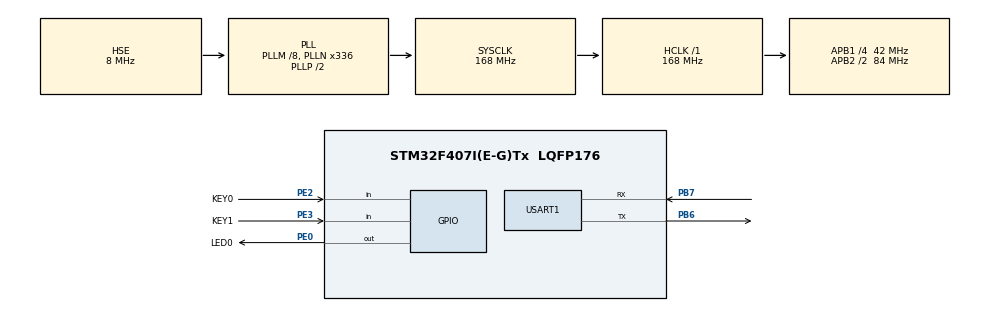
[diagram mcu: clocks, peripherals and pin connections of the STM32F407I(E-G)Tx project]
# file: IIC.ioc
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Mcu.Family=STM32F4
Mcu.Name=STM32F407I(E-G)Tx
Mcu.Package=LQFP176
NVIC.PriorityGroup=NVIC_PRIORITYGROUP_4
PA13.Mode=Serial_Wire
PA13.Signal=SYS_JTMS-SWDIO
PA14.Mode=Serial_Wire
PA14.Signal=SYS_JTCK-SWCLK
PB6.Mode=Asynchronous
PB6.Signal=USART1_TX
PB7.Mode=Asynchronous
PB7.Signal=USART1_RX
PE0.GPIO_Label=LED0
PE0.GPIO_Speed=GPIO_SPEED_FREQ_HIGH
PE0.PinState=GPIO_PIN_SET
PE0.Signal=GPIO_Output
PE2.GPIO_Label=KEY0
PE2.GPIO_PuPd=GPIO_PULLUP
PE2.Signal=GPIO_Input
PE3.GPIO_Label=KEY1
PE3.GPIO_PuPd=GPIO_PULLUP
PE3.Signal=GPIO_Input
PH0-OSC_IN.Mode=HSE-External-Oscillator
PH0-OSC_IN.Signal=RCC_OSC_IN
PH1-OSC_OUT.Mode=HSE-External-Oscillator
PH1-OSC_OUT.Signal=RCC_OSC_OUT
PH4.Signal=I2C2_SCL
PH5.Signal=I2C2_SDA
ProjectManager.HeapSize=0x200
ProjectManager.StackSize=0x400
ProjectManager.TargetToolchain=MDK-ARM V5
RCC.48MHZClocksFreq_Value=84000000
RCC.AHBFreq_Value=168000000
RCC.APB1CLKDivider=RCC_HCLK_DIV4
RCC.APB1Freq_Value=42000000
RCC.APB1TimFreq_Value=84000000
RCC.APB2CLKDivider=RCC_HCLK_DIV2
RCC.APB2Freq_Value=84000000
RCC.APB2TimFreq_Value=168000000
RCC.CortexFreq_Value=168000000
RCC.HCLKFreq_Value=168000000
RCC.HSE_VALUE=8000000
RCC.HSI_VALUE=16000000
RCC.LSE_VALUE=32768
RCC.PLLM=8
RCC.PLLN=336
RCC.PLLSourceVirtual=RCC_PLLSOURCE_HSE
RCC.SYSCLKFreq_VALUE=168000000
RCC.SYSCLKSource=RCC_SYSCLKSOURCE_PLLCLK
RCC.VCOOutputFreq_Value=336000000
USART1.VirtualMode=VM_ASYNC
board=IIC

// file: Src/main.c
/**
  ******************************************************************************
  * @file           : main.c
  * @brief          : Main program body
  ******************************************************************************
  ** This notice applies to any and all portions of this file
  * that are not between comment pairs USER CODE BEGIN and
  * USER CODE END. Other portions of this file, whether
  * inserted by the user or by software development tools
  * are owned by their respective copyright owners.
  *
  * COPYRIGHT(c) 2024 STMicroelectronics
  *
  * Redistribution and use in source and binary forms, with or without modification,
  * are permitted provided that the following conditions are met:
  *   1. Redistributions of source code must retain the above copyright notice,
  *      this list of conditions and the following disclaimer.
  *   2. Redistributions in binary form must reproduce the above copyright notice,
  *      this list of conditions and the following disclaimer in the documentation
  *      and/or other materials provided with the distribution.
  *   3. Neither the name of STMicroelectronics nor the names of its contributors
  *      may be used to endorse or promote products derived from this software
  *      without specific prior written permission.
  *
  * THIS SOFTWARE IS PROVIDED BY THE COPYRIGHT HOLDERS AND CONTRIBUTORS "AS IS"
  * AND ANY EXPRESS OR IMPLIED WARRANTIES, INCLUDING, BUT NOT LIMITED TO, THE
  * IMPLIED WARRANTIES OF MERCHANTABILITY AND FITNESS FOR A PARTICULAR PURPOSE ARE
  * DISCLAIMED. IN NO EVENT SHALL THE COPYRIGHT HOLDER OR CONTRIBUTORS BE LIABLE
  * FOR ANY DIRECT, INDIRECT, INCIDENTAL, SPECIAL, EXEMPLARY, OR CONSEQUENTIAL
  * DAMAGES (INCLUDING, BUT NOT LIMITED TO, PROCUREMENT OF SUBSTITUTE GOODS OR
  * SERVICES; LOSS OF USE, DATA, OR PROFITS; OR BUSINESS INTERRUPTION) HOWEVER
  * CAUSED AND ON ANY THEORY OF LIABILITY, WHETHER IN CONTRACT, STRICT LIABILITY,
  * OR TORT (INCLUDING NEGLIGENCE OR OTHERWISE) ARISING IN ANY WAY OUT OF THE USE
  * OF THIS SOFTWARE, EVEN IF ADVISED OF THE POSSIBILITY OF SUCH DAMAGE.
  *
  ******************************************************************************
  */
#include "main.h"
#include "stm32f4xx_hal.h"
#include "usart.h"
#include "gpio.h"

/* USER CODE BEGIN Includes */
#include "24cxx.h"
#include "delay.h"
/* USER CODE END Includes */

/* USER CODE BEGIN PV */
/* Private variables ---------------------------------------------------------*/
uint8_t g_text_buf[] = "STM32 IIC TEST"; /* 要写入到24c02的字符串数组 */
#define TEXT_SIZE sizeof(g_text_buf) /* TEXT字符串长度 */
/* USER CODE END PV */

void SystemClock_Config(void);

/* USER CODE BEGIN PFP */
/* Private function prototypes -----------------------------------------------*/

/* USER CODE END PFP */

int main(void)
{

  /* MCU Configuration----------------------------------------------------------*/

  /* Reset of all peripherals, Initializes the Flash interface and the Systick. */
  HAL_Init();

  /* Configure the system clock */
  SystemClock_Config();

  /* Initialize all configured peripherals */
  MX_GPIO_Init();
  MX_USART1_UART_Init();
  /* USER CODE BEGIN 2 */
	delay_init(168); /* 延时初始化 */
	uint8_t datatemp[TEXT_SIZE] = {0};
	at24cxx_init(); /* 初始化24CXX */

	while (at24cxx_check()){ /* 检测不到24c02 */
		printf("Can not find 24c02\n");
		delay_ms(500);
	}

	printf("I2C2 EEPROM test!\n");
	printf("g_text_buf: %s\n", g_text_buf);
	at24cxx_write(0, (uint8_t *)g_text_buf, TEXT_SIZE);
	HAL_Delay(1000);
	at24cxx_read(0, datatemp, TEXT_SIZE);
	printf("Read: %s\n", datatemp);
  /* USER CODE END 2 */

  /* Infinite loop */
  while (1)
  {

  }

}

void SystemClock_Config(void)
{

  RCC_OscInitTypeDef RCC_OscInitStruct;
  RCC_ClkInitTypeDef RCC_ClkInitStruct;

    /**Configure the main internal regulator output voltage
    */
  __HAL_RCC_PWR_CLK_ENABLE();

  __HAL_PWR_VOLTAGESCALING_CONFIG(PWR_REGULATOR_VOLTAGE_SCALE1);

    /**Initializes the CPU, AHB and APB busses clocks
    */
  RCC_OscInitStruct.OscillatorType = RCC_OSCILLATORTYPE_HSE;
  RCC_OscInitStruct.HSEState = RCC_HSE_ON;
  RCC_OscInitStruct.PLL.PLLState = RCC_PLL_ON;
  RCC_OscInitStruct.PLL.PLLSource = RCC_PLLSOURCE_HSE;
  RCC_OscInitStruct.PLL.PLLM = 8;
  RCC_OscInitStruct.PLL.PLLN = 336;
  RCC_OscInitStruct.PLL.PLLP = RCC_PLLP_DIV2;
  RCC_OscInitStruct.PLL.PLLQ = 4;
  if (HAL_RCC_OscConfig(&RCC_OscInitStruct) != HAL_OK)
  {
    _Error_Handler(__FILE__, __LINE__);
  }

    /**Initializes the CPU, AHB and APB busses clocks
    */
  RCC_ClkInitStruct.ClockType = RCC_CLOCKTYPE_HCLK|RCC_CLOCKTYPE_SYSCLK
                              |RCC_CLOCKTYPE_PCLK1|RCC_CLOCKTYPE_PCLK2;
  RCC_ClkInitStruct.SYSCLKSource = RCC_SYSCLKSOURCE_PLLCLK;
  RCC_ClkInitStruct.AHBCLKDivider = RCC_SYSCLK_DIV1;
  RCC_ClkInitStruct.APB1CLKDivider = RCC_HCLK_DIV4;
  RCC_ClkInitStruct.APB2CLKDivider = RCC_HCLK_DIV2;

  if (HAL_RCC_ClockConfig(&RCC_ClkInitStruct, FLASH_LATENCY_5) != HAL_OK)
  {
    _Error_Handler(__FILE__, __LINE__);
  }

    /**Configure the Systick interrupt time
    */
  HAL_SYSTICK_Config(HAL_RCC_GetHCLKFreq()/1000);

    /**Configure the Systick
    */
  HAL_SYSTICK_CLKSourceConfig(SYSTICK_CLKSOURCE_HCLK);

  /* SysTick_IRQn interrupt configuration */
  HAL_NVIC_SetPriority(SysTick_IRQn, 0, 0);
}

void _Error_Handler(char *file, int line)
{
  while(1)
  {
  }
}

/************************ (C) COPYRIGHT STMicroelectronics *****END OF FILE****/
